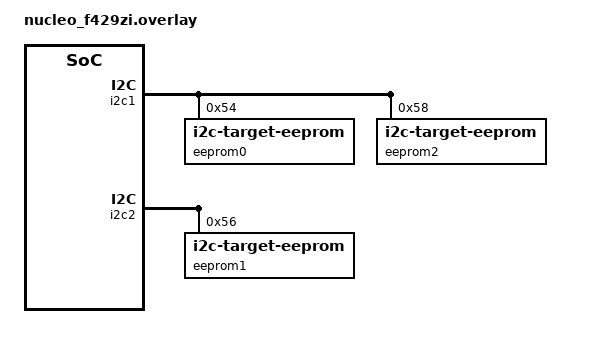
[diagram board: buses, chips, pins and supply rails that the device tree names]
/* SPDX-License-Identifier: Apache-2.0 */

/* I2C bus pins are exposed on the ST morpho header.
 *
 *  Bus        SDA               SCL
 *          Pin   Hdr         Pin   Hdr
 *  i2c1    PB9   CN7:4      PB8   CN7:2
 *  i2c2    PB11  CN10:34    PB10  CN10:32
 *
 * Short Pin PB9 to PB11, and PB8 to PB10, for the test to pass.
 */

&i2c1 {
	eeprom0: eeprom@54 {
		compatible = "zephyr,i2c-target-eeprom";
		reg = <0x54>;
		size = <256>;
	};
	eeprom2: eeprom@58 {
		compatible = "zephyr,i2c-target-eeprom";
		reg = <0x58>;
		size = <4096>;
		address-width = <16>;
		read-only;
	};
};

&i2c2 {
	eeprom1: eeprom@56 {
		compatible = "zephyr,i2c-target-eeprom";
		reg = <0x56>;
		size = <256>;
	};
};
